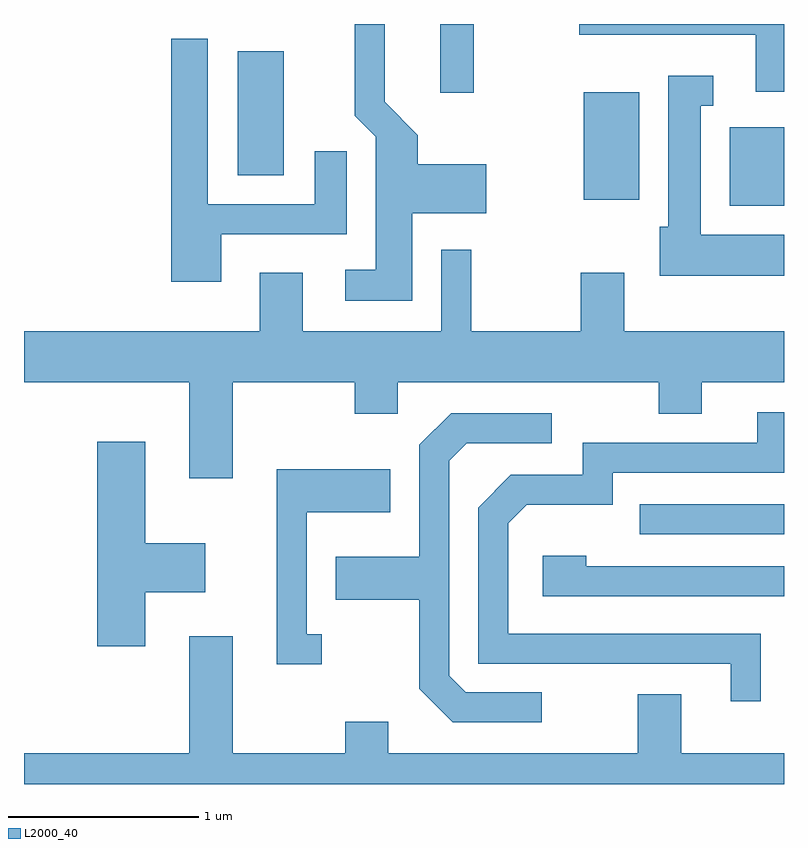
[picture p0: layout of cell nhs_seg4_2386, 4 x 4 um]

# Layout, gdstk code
import gdstk
lib = gdstk.Library(unit=1e-6, precision=1e-09)
def R(c, l, rs):  # rectangles x0, y0, x1, y1
    for r in rs: c.add(gdstk.rectangle(r[:2], r[2:], *l))
def P(c, l, *ps):  # polygons
    for p in ps: c.add(gdstk.Polygon(p, *l))
L2000_40 = (2000, 40)

nhs_seg4_2386 = lib.new_cell('nhs_seg4_2386')
R(nhs_seg4_2386, L2000_40, [(258.853,1267.296,259.611,1267.454), (259.326,1269.026,259.611,1269.439), (258.556,1269.056,258.849,1269.624), (256.736,1269.186,256.979,1269.839), (257.801,1269.621,257.979,1269.982)])
P(nhs_seg4_2386, L2000_40, [(257.654,1268.986),(258.044,1268.986),(258.044,1269.244),(257.684,1269.244),(257.684,1269.397),(257.509,1269.572),(257.509,1269.982),(257.351,1269.982),(257.351,1269.499),(257.461,1269.389),(257.461,1268.689),(257.303,1268.689),(257.303,1268.526),(257.654,1268.526)],
  [(259.611,1269.982),(258.533,1269.982),(258.533,1269.926),(259.461,1269.926),(259.461,1269.626),(259.611,1269.626)],
  [(256.649,1268.876),(257.309,1268.876),(257.309,1269.313),(257.141,1269.313),(257.141,1269.034),(256.579,1269.034),(256.579,1269.904),(256.386,1269.904),(256.386,1268.626),(256.649,1268.626)],
  [(259.611,1268.874),(259.174,1268.874),(259.174,1269.551),(259.238,1269.551),(259.238,1269.709),(259.001,1269.709),(259.001,1268.914),(258.956,1268.914),(258.956,1268.656),(259.611,1268.656)],
  [(256.709,1268.096),(257.351,1268.096),(257.351,1267.931),(257.579,1267.931),(257.579,1268.096),(258.951,1268.096),(258.951,1267.931),(259.179,1267.931),(259.179,1268.096),(259.611,1268.096),(259.611,1268.364),(258.769,1268.364),(258.769,1268.674),(258.541,1268.674),(258.541,1268.364),(257.964,1268.364),(257.964,1268.793),(257.806,1268.793),(257.806,1268.364),(257.079,1268.364),(257.079,1268.674),(256.851,1268.674),(256.851,1268.364),(255.611,1268.364),(255.611,1268.096),(256.481,1268.096),(256.481,1267.591),(256.709,1267.591)],
  [(259.489,1266.774),(258.159,1266.774),(258.159,1267.354),(258.257,1267.451),(258.709,1267.451),(258.709,1267.621),(259.611,1267.621),(259.611,1267.939),(259.471,1267.939),(259.471,1267.779),(258.551,1267.779),(258.551,1267.609),(258.174,1267.609),(258.001,1267.437),(258.001,1266.616),(259.331,1266.616),(259.331,1266.418),(259.489,1266.418)],
  [(258.337,1266.464),(257.937,1266.464),(257.849,1266.552),(257.849,1267.684),(257.942,1267.776),(258.388,1267.776),(258.388,1267.934),(257.859,1267.934),(257.691,1267.767),(257.691,1267.179),(257.251,1267.179),(257.251,1266.951),(257.691,1266.951),(257.691,1266.484),(257.868,1266.306),(258.337,1266.306)],
  [(256.249,1266.991),(256.564,1266.991),(256.564,1267.249),(256.249,1267.249),(256.249,1267.784),(255.996,1267.784),(255.996,1266.706),(256.249,1266.706)],
  [(257.178,1266.769),(257.099,1266.769),(257.099,1267.411),(257.539,1267.411),(257.539,1267.639),(256.941,1267.639),(256.941,1266.611),(257.178,1266.611)],
  [(259.611,1267.129),(258.569,1267.129),(258.569,1267.184),(258.341,1267.184),(258.341,1266.971),(259.611,1266.971)],
  [(259.611,1266.144),(259.069,1266.144),(259.069,1266.454),(258.841,1266.454),(258.841,1266.144),(257.529,1266.144),(257.529,1266.309),(257.301,1266.309),(257.301,1266.144),(256.709,1266.144),(256.709,1266.759),(256.481,1266.759),(256.481,1266.144),(255.611,1266.144),(255.611,1265.982),(259.611,1265.982)])

lib.write_gds('nhs_seg4_2386.gds')
